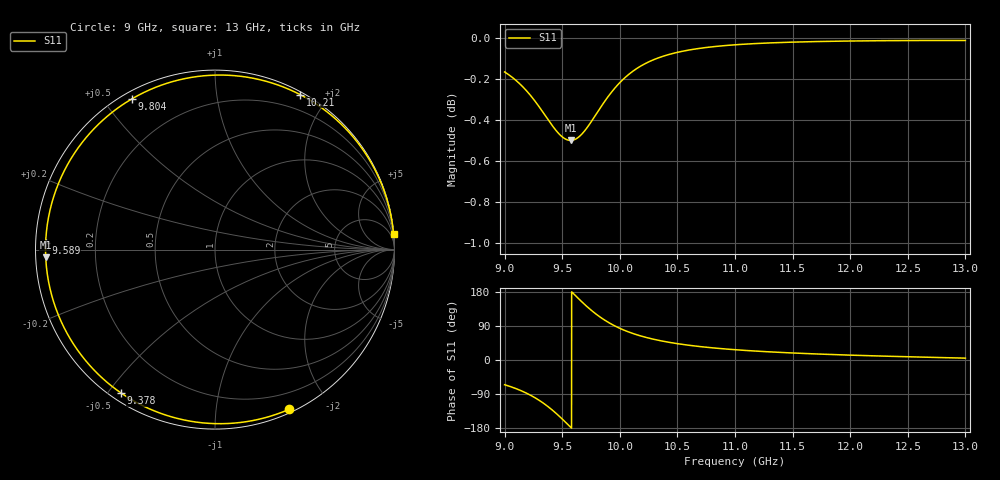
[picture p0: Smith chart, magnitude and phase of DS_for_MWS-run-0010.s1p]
! TOUCHSTONE file generated by CST DESIGN STUDIO
! Date and time: Wed Feb  5 13:37:28 2025
! Project name: C:\Work\MatlabApps\UnitCellOptimizationMatlab\CST\unitcell.cst
! Tree item: Tasks\Sweep1\SPara1\S-Parameters
! Header version: 2024
! Port assignment regex: !\s*Touchstone port\s*([0-9]+)\s*=\s*(CST MWS port|CST DES external port|CST DES block port)\s*(.+)\s* \(\"(.*)\"\)(\s*mode\s*([0-9]+))?.*
! Touchstone port assignment:
! Touchstone port 1 = CST DES external port 1 ("")
# GHz S MA R 50
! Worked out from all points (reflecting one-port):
!   4001 points, 9 GHz to 13 GHz, reference 50 ohm
!   lowest |S11| = -0.5 dB at 9.573 GHz (marker M1), VSWR 34.80, Z = 1.44 - j1.13 ohm
!   phase of S11 starts at -65 deg and turns -290 deg over the sweep
!   S11 on the Smith chart (normalised r, x): 9 GHz: 0.03, -1.56; 9.378 GHz: 0.03, -0.54; 9.589 GHz: 0.03, +0.02; 9.804 GHz: 0.03, +0.59; 10.21 GHz: 0.03, +1.69; 13 GHz: 0, +23
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9  0.981 -65.2
9.045  0.9791 -69.6
9.113  0.9756 -77.2
9.229  0.9679 -93.6
9.308  0.9614 -108.0
9.378  0.9551 -123.3
9.438  0.95 -138.3
9.5  0.946 -155.6
9.537  0.9446 -166.5
9.573  0.9441 -177.4
9.589  0.9442 177.7
9.644  0.946 161.2
9.704  0.9499 144.0
9.754  0.9543 130.8
9.804  0.959 118.8
9.847  0.963 109.6
9.893  0.9671 100.7
10  0.9752 83.6
10.099  0.9807 71.5
10.208  0.9852 61.2
10.342  0.9889 51.6
10.5  0.9918 43.1
10.72  0.9943 34.6
11  0.996 27.2
11.5  0.9975 18.5
12  0.9981 12.8
12.5  0.9984 8.5
13  0.9984 4.9
